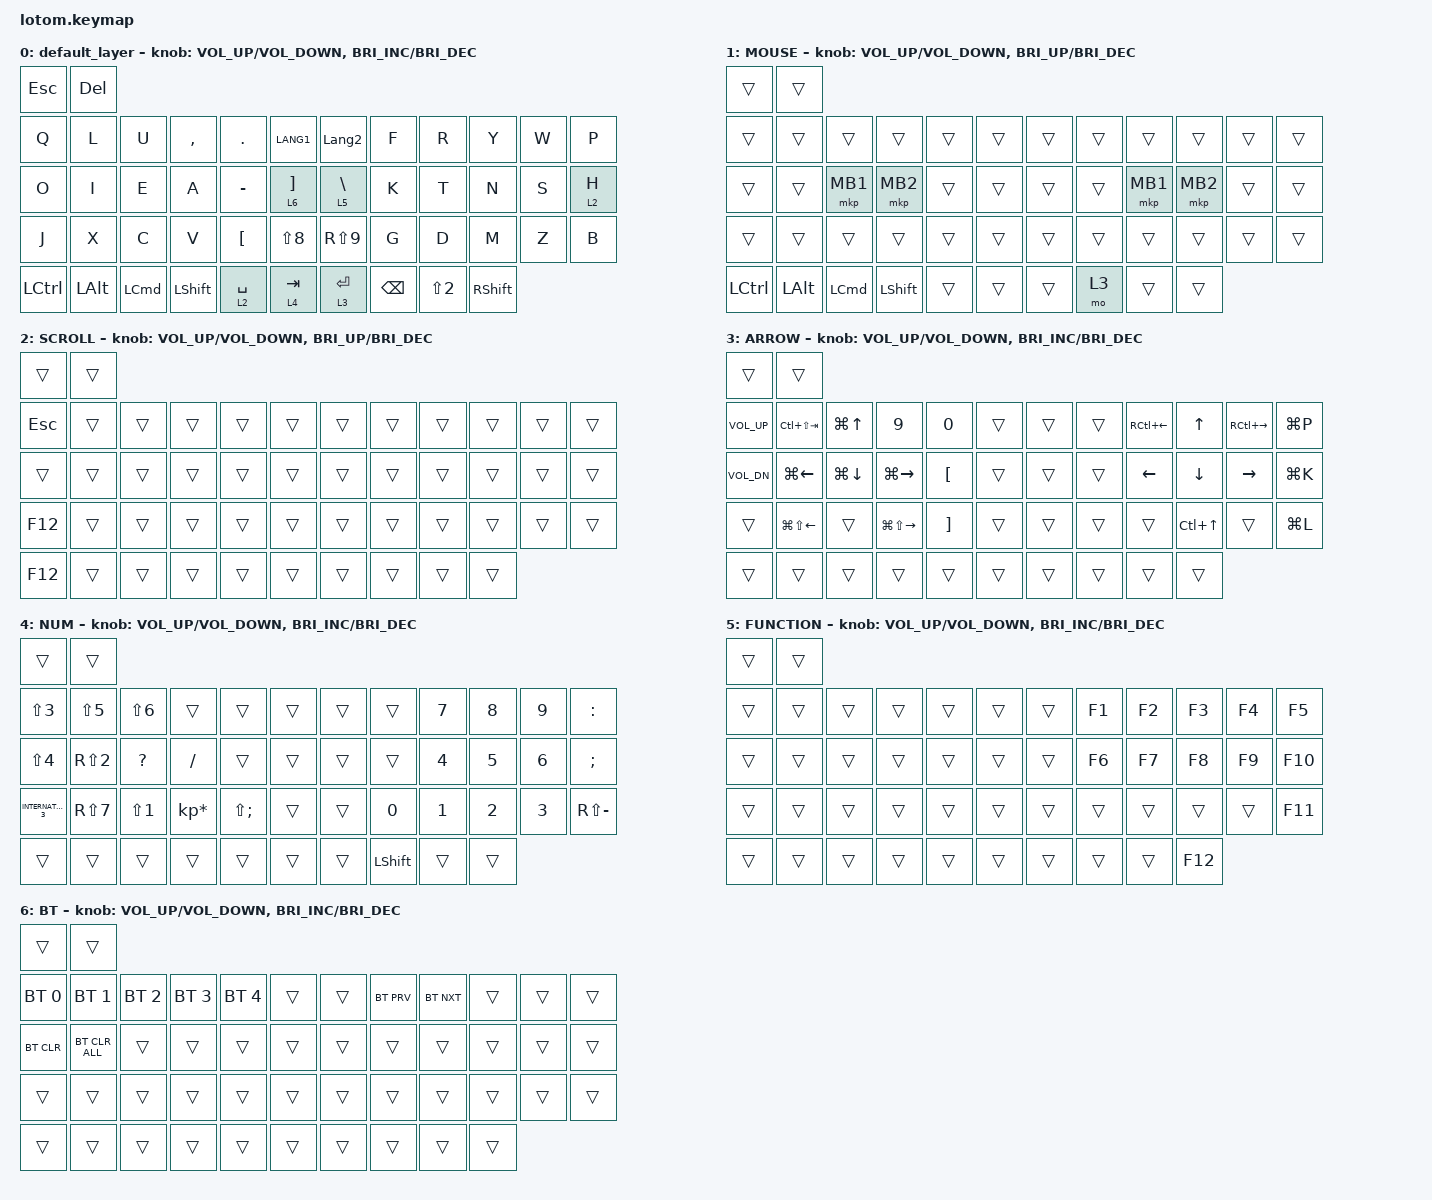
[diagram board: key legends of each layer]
#include <behaviors.dtsi>
#include <dt-bindings/zmk/bt.h>
#include <dt-bindings/zmk/keys.h>
#include <dt-bindings/zmk/pointing.h>

#define ZMK_POINTING_DEFAULT_SCRL_VAL 80

/ {
    behaviors {
        scroll_up_down: behavior_sensor_rotate_mouse_wheel_up_down {
            compatible = "zmk,behavior-sensor-rotate";
            label = "ENCODER_MSC_DOWN_UP";
            #sensor-binding-cells = <0>;
            bindings = <&msc SCRL_DOWN>, <&msc SCRL_UP>;

            tap-ms = <20>;
        };

        tab_slide: behavior_sensor_rotate_tab_slide {
            compatible = "zmk,behavior-sensor-rotate";
            label = "ENCODER_TAB_SLIDE";
            #sensor-binding-cells = <0>;
            bindings = <&kp LA(LG(RIGHT_ARROW))>, <&kp LA(LG(LEFT_ARROW))>;

            tap-ms = <20>;
        };
    };

    keymap {
        compatible = "zmk,keymap";

        default_layer {
            bindings = <
&kp ESCAPE  &kp DELETE
&kp Q       &kp L         &kp U             &kp COMMA       &kp PERIOD   &kp LANG1         &kp LANGUAGE_2    &kp F          &kp R             &kp Y            &kp W  &kp P
&kp O       &kp I         &kp E             &kp A           &kp MINUS    &lt 6 RBKT        &lt 5 BSLH        &kp K          &kp T             &kp N            &kp S  &lt 2 H
&kp J       &kp X         &kp C             &kp V           &kp LBKT     &kp LS(NUMBER_8)  &kp RS(NUMBER_9)  &kp G          &kp D             &kp M            &kp Z  &kp B
&kp LCTRL   &kp LEFT_ALT  &kp LEFT_COMMAND  &kp LEFT_SHIFT  &lt 2 SPACE  &lt 4 TAB         &lt 3 RET         &kp BACKSPACE  &kp LS(NUMBER_2)  &kp RIGHT_SHIFT
            >;

            sensor-bindings =
                <&inc_dec_kp C_VOLUME_UP C_VOLUME_DOWN>,
                <&inc_dec_kp C_BRI_INC C_BRI_DEC>;
        };

        MOUSE {
            bindings = <
&trans     &trans
&trans     &trans        &trans            &trans          &trans  &trans  &trans  &trans  &trans    &trans    &trans  &trans
&trans     &trans        &mkp MB1          &mkp MB2        &trans  &trans  &trans  &trans  &mkp MB1  &mkp MB2  &trans  &trans
&trans     &trans        &trans            &trans          &trans  &trans  &trans  &trans  &trans    &trans    &trans  &trans
&kp LCTRL  &kp LEFT_ALT  &kp LEFT_COMMAND  &kp LEFT_SHIFT  &trans  &trans  &trans  &mo 3   &trans    &trans
            >;

            sensor-bindings =
                <&inc_dec_kp C_VOLUME_UP C_VOLUME_DOWN>,
                <&inc_dec_kp C_BRI_UP C_BRI_DEC>;
        };

        SCROLL {
            bindings = <
&trans      &trans
&kp ESCAPE  &trans  &trans  &trans  &trans  &trans  &trans  &trans  &trans  &trans  &trans  &trans
&trans      &trans  &trans  &trans  &trans  &trans  &trans  &trans  &trans  &trans  &trans  &trans
&kp F12     &trans  &trans  &trans  &trans  &trans  &trans  &trans  &trans  &trans  &trans  &trans
&kp F12     &trans  &trans  &trans  &trans  &trans  &trans  &trans  &trans  &trans
            >;

            sensor-bindings =
                <&inc_dec_kp C_VOLUME_UP C_VOLUME_DOWN>,
                <&inc_dec_kp C_BRI_UP C_BRI_DEC>;
        };

        ARROW {
            bindings = <
&trans        &trans
&kp C_VOL_UP  &kp LC(LS(TAB))         &kp LG(UP_ARROW)  &kp NUMBER_9             &kp NUMBER_0       &trans  &trans  &trans  &kp RC(LEFT_ARROW)  &kp UP_ARROW      &kp RC(RIGHT_ARROW)  &kp LG(P)
&kp C_VOL_DN  &kp LG(LEFT_ARROW)      &kp LG(DOWN)      &kp LG(RIGHT_ARROW)      &kp LEFT_BRACKET   &trans  &trans  &trans  &kp LEFT_ARROW      &kp DOWN_ARROW    &kp RIGHT_ARROW      &kp LG(K)
&trans        &kp LG(LS(LEFT_ARROW))  &trans            &kp LG(LS(RIGHT_ARROW))  &kp RIGHT_BRACKET  &trans  &trans  &trans  &trans              &kp LC(UP_ARROW)  &trans               &kp LG(L)
&trans        &trans                  &trans            &trans                   &trans             &trans  &trans  &trans  &trans              &trans
            >;

            sensor-bindings =
                <&inc_dec_kp C_VOLUME_UP C_VOLUME_DOWN>,
                <&inc_dec_kp C_BRI_INC C_BRI_DEC>;
        };

        NUM {
            bindings = <
&trans               &trans
&kp LS(N3)           &kp LS(NUMBER_5)  &kp LS(NUMBER_6)  &trans           &trans        &trans  &trans  &trans          &kp NUMBER_7  &kp NUMBER_8  &kp NUMBER_9  &kp COLON
&kp LS(NUMBER_4)     &kp RS(NUMBER_2)  &kp QUESTION      &kp SLASH        &trans        &trans  &trans  &trans          &kp NUMBER_4  &kp NUMBER_5  &kp NUMBER_6  &kp SEMI
&kp INTERNATIONAL_3  &kp RS(NUMBER_7)  &kp LS(NUMBER_1)  &kp KP_MULTIPLY  &kp LS(SEMI)  &trans  &trans  &kp NUMBER_0    &kp NUMBER_1  &kp NUMBER_2  &kp NUMBER_3  &kp RS(MINUS)
&trans               &trans            &trans            &trans           &trans        &trans  &trans  &kp LEFT_SHIFT  &trans        &trans
            >;

            sensor-bindings =
                <&inc_dec_kp C_VOLUME_UP C_VOLUME_DOWN>,
                <&inc_dec_kp C_BRI_INC C_BRI_DEC>;
        };

        FUNCTION {
            bindings = <
&trans  &trans
&trans  &trans  &trans  &trans  &trans  &trans  &trans  &kp F1  &kp F2  &kp F3   &kp F4  &kp F5
&trans  &trans  &trans  &trans  &trans  &trans  &trans  &kp F6  &kp F7  &kp F8   &kp F9  &kp F10
&trans  &trans  &trans  &trans  &trans  &trans  &trans  &trans  &trans  &trans   &trans  &kp F11
&trans  &trans  &trans  &trans  &trans  &trans  &trans  &trans  &trans  &kp F12
            >;

            sensor-bindings =
                <&inc_dec_kp C_VOLUME_UP C_VOLUME_DOWN>,
                <&inc_dec_kp C_BRI_INC C_BRI_DEC>;
        };

        BT {
            bindings = <
&trans        &trans
&bt BT_SEL 0  &bt BT_SEL 1    &bt BT_SEL 2  &bt BT_SEL 3  &bt BT_SEL 4  &trans  &trans  &bt BT_PRV  &bt BT_NXT  &trans  &trans  &trans
&bt BT_CLR    &bt BT_CLR_ALL  &trans        &trans        &trans        &trans  &trans  &trans      &trans      &trans  &trans  &trans
&trans        &trans          &trans        &trans        &trans        &trans  &trans  &trans      &trans      &trans  &trans  &trans
&trans        &trans          &trans        &trans        &trans        &trans  &trans  &trans      &trans      &trans
            >;

            sensor-bindings =
                <&inc_dec_kp C_VOLUME_UP C_VOLUME_DOWN>,
                <&inc_dec_kp C_BRI_INC C_BRI_DEC>;
        };
    };
};
